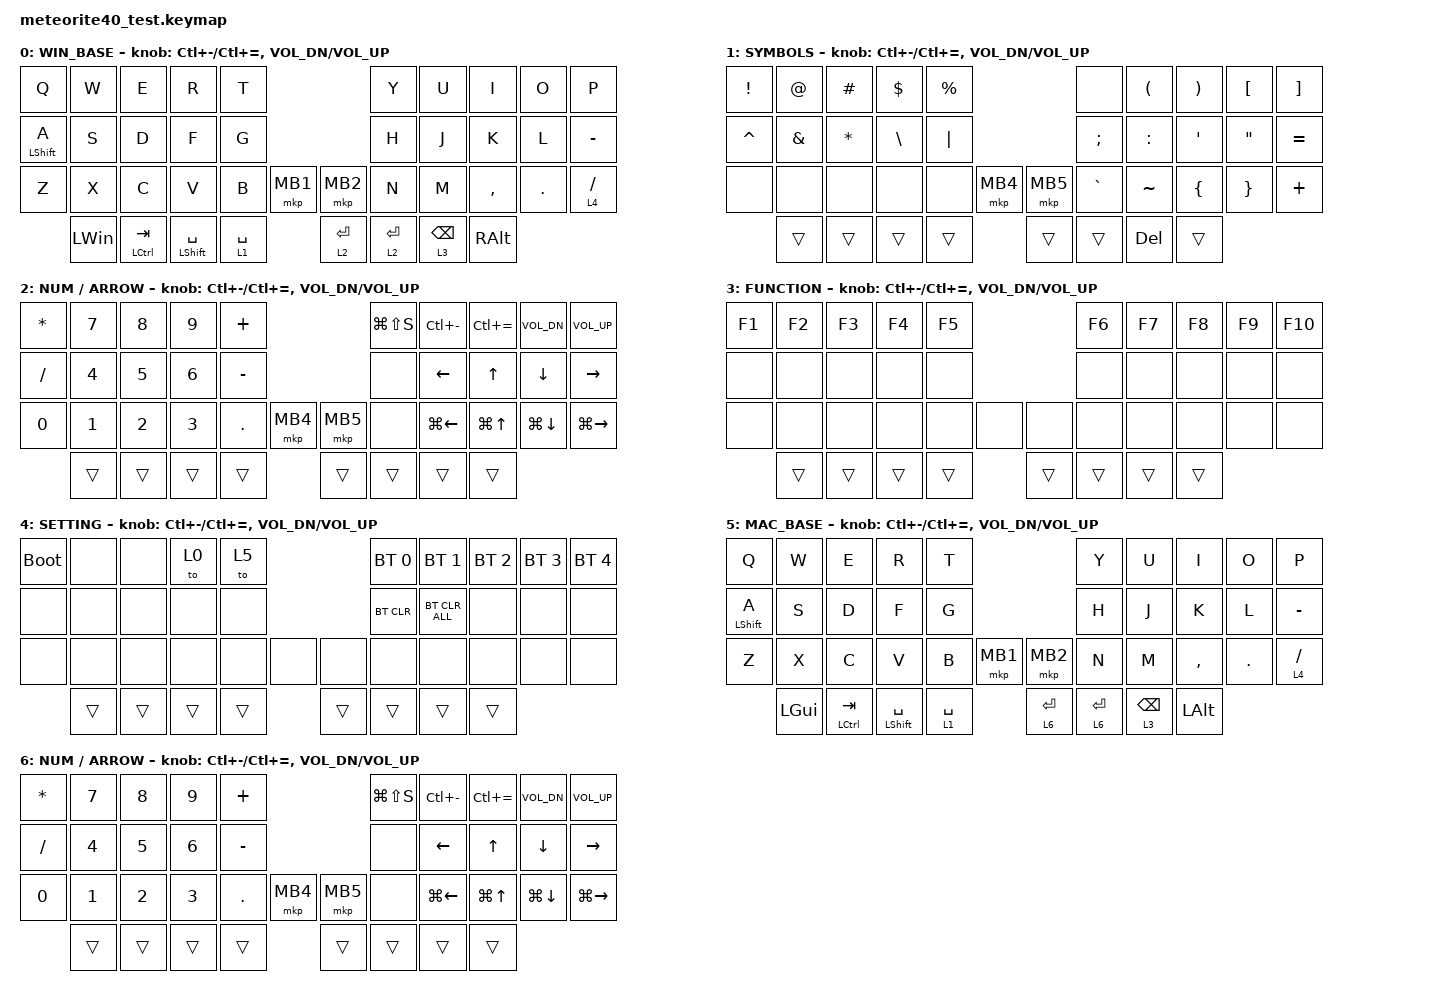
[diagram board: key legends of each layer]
#include <behaviors.dtsi>
#include <dt-bindings/zmk/bt.h>
#include <dt-bindings/zmk/keys.h>
#include <dt-bindings/zmk/pointing.h>

&mt { 
	flavor = "tap-preferred"; // change hold to tap
	tapping-term-ms = <200>;
	quick-tap-ms = <150>; // change 200 to 150
};

&lt {
	flavor = "tap-preferred";
	tapping-term-ms = <150>; // change 200 to 150
	quick-tap-ms = <150>; // change 200 to 150
};

/ { 
	combos {
		compatible = "zmk,combos";

        //common win and mac
		lang1 {
			bindings = <&kp LANG1>;
			key-positions = <12 13>; /* D + F */
			layers = <0 5>;
		};

		lang2 {
			bindings = <&kp LANG2>;
			key-positions = <16 17>; /* J + K */
			layers = <0 5>;
		};

		esc {
			bindings = <&kp ESCAPE>;
			key-positions = <20 21>; /* Z + X */
			layers = <0 5>;
		};

		tab {
			bindings = <&kp TAB>;
			key-positions = <0 1>; /* Q + W */
			layers = <0 5>;
		};

        //win only
		home_win {
			bindings = <&kp HOME>;
			key-positions = <16 17>; /* J + K (on layer 2) */
			layers = <2>;
		};

		end_win {
			bindings = <&kp END>;
			key-positions = <18 19>; /* L + - (on layer 2) */
			layers = <2>;
		};

		ctrl_home_win {
			bindings = <&kp LC(HOME)>;
			key-positions = <16 18>; /* J + L (on layer 2) */
			layers = <2>;
		};

		ctrl_end_win {
			bindings = <&kp LC(END)>;
			key-positions = <17 19>; /* K + - (on layer 2) */
			layers = <2>;
		};

        //mac only
		home_mac {
			bindings = <&kp LG(LEFT)>;
			key-positions = <16 17>; /* J + K (on layer 6) */
			layers = <6>;
		};

		end_mac {
			bindings = <&kp LG(RIGHT)>;
			key-positions = <18 19>; /* L + - (on layer 6) */
			layers = <6>;
		};

		ctrl_home_mac {
			bindings = <&kp LG(UP)>;
			key-positions = <16 18>; /* J + L (on layer 6) */
			layers = <6>;
		};

		ctrl_end_mac {
			bindings = <&kp LG(DOWN)>;
			key-positions = <17 19>; /* K + - (on layer 6) */
			layers = <6>;
		};
	};

	keymap {
		compatible = "zmk,keymap";
		layout = &LAYOUT_2U_SPACE;

		win_base {
			display-name = "WIN_BASE";
			bindings = <
				&kp Q        &kp W       &kp E        &kp R        &kp T                                 &kp Y        &kp U       &kp I       &kp O  &kp P
				&mt LSHIFT A &kp S       &kp D        &kp F        &kp G                                 &kp H        &kp J       &kp K       &kp L  &kp MINUS
				&kp Z        &kp X       &kp C        &kp V        &kp B        &mkp MB1     &mkp MB2    &kp N        &kp M       &kp COMMA   &kp DOT  &lt 4 SLASH
								&kp LWIN  &mt LCTRL TAB  &mt LSHIFT SPACE  &lt 1 SPACE  &lt 2 ENTER  &lt 2 ENTER  &lt 3 BSPC  &kp RALT
			>;

			sensor-bindings =
				<&inc_dec_kp LC(MINUS) LC(EQUAL)>, // RE0: ctrl + - / +
				<&inc_dec_kp C_VOL_DN C_VOL_UP>; // RE1: volume down/up
		};

		layer_1 {
			display-name = "SYMBOLS";
			bindings = <
				&kp EXCL   &kp AT    &kp HASH  &kp DLLR  &kp PRCNT                       &none      &kp LPAR   &kp RPAR   &kp LBKT   &kp RBKT
				&kp CARET  &kp AMPS  &kp STAR  &kp BSLH  &kp PIPE                        &kp SEMI   &kp COLON  &kp SQT    &kp DQT    &kp EQUAL
				&none      &none     &none     &none     &none      &mkp MB4  &mkp MB5   &kp GRAVE  &kp TILDE  &kp LBRC   &kp RBRC   &kp PLUS
									 &trans     &trans    &trans    &trans    &trans     &trans    &kp DEL     &trans
			>;

			sensor-bindings =
				<&inc_dec_kp LC(MINUS) LC(EQUAL)>, // RE0: ctrl + - / +
				<&inc_dec_kp C_VOL_DN C_VOL_UP>; // RE1: volume down/up
		};

		layer_2 {
			display-name = "NUM / ARROW";
			bindings = <
				&kp ASTRK        &kp N7     &kp N8     &kp N9     &kp PLUS                        &kp LG(LS(S)) &kp LC(MINUS) &kp LC(EQUAL) &kp C_VOL_DN &kp C_VOL_UP
				&kp SLASH        &kp N4     &kp N5     &kp N6     &kp MINUS                       &none         &kp LEFT      &kp UP        &kp DOWN     &kp RIGHT
				&kp N0           &kp N1     &kp N2     &kp N3     &kp DOT   &mkp MB4   &mkp MB5   &none         &kp LG(LEFT)  &kp LG(UP)    &kp LG(DOWN) &kp LG(RIGHT)
										&trans           &trans     &trans     &trans    &trans        &trans  &trans    &trans
			>;

			sensor-bindings =
				<&inc_dec_kp LC(MINUS) LC(EQUAL)>, // RE0: ctrl + - / +
				<&inc_dec_kp C_VOL_DN C_VOL_UP>; // RE1: volume down/up
		};

		layer_3 {
			display-name = "FUNCTION";
			bindings = <
				&kp F1  &kp F2  &kp F3  &kp F4  &kp F5                  &kp F6  &kp F7  &kp F8  &kp F9  &kp F10
				&none   &none   &none   &none   &none                   &none   &none   &none   &none   &none
				&none   &none   &none   &none   &none   &none   &none   &none   &none   &none    &none  &none
								&trans  &trans  &trans  &trans  &trans  &trans  &trans  &trans
			>;

			sensor-bindings =
				<&inc_dec_kp LC(MINUS) LC(EQUAL)>, // RE0: ctrl + - / +
				<&inc_dec_kp C_VOL_DN C_VOL_UP>; // RE1: volume down/up
		};

		layer_4 {
			display-name = "SETTING";
			bindings = <
				&bootloader  &none   &none   &to 0   &to 5                                 &bt BT_SEL 0   &bt BT_SEL 1    &bt BT_SEL 2  &bt BT_SEL 3  &bt BT_SEL 4
				&none        &none   &none   &none   &none                                 &bt BT_CLR     &bt BT_CLR_ALL  &none         &none         &none
				&none        &none   &none   &none   &none   &none           &none         &none          &none           &none         &none         &none
												&trans       &trans  &trans  &trans  &trans  &trans          &trans        &trans
			>;

			sensor-bindings =
				<&inc_dec_kp LC(MINUS) LC(EQUAL)>, // RE0: ctrl + - / +
				<&inc_dec_kp C_VOL_DN C_VOL_UP>; // RE1: volume down/up
		};

        mac_base {
            display-name = "MAC_BASE";
            bindings = <
                &kp Q        &kp W       &kp E        &kp R        &kp T                                 &kp Y        &kp U       &kp I       &kp O  &kp P
                &mt LSHIFT A &kp S       &kp D        &kp F        &kp G                                 &kp H        &kp J       &kp K       &kp L  &kp MINUS
                &kp Z        &kp X       &kp C        &kp V        &kp B        &mkp MB1     &mkp MB2    &kp N        &kp M       &kp COMMA   &kp DOT  &lt 4 SLASH
                                &kp LGUI  &mt LCTRL TAB  &mt LSHIFT SPACE  &lt 1 SPACE  &lt 6 ENTER  &lt 6 ENTER  &lt 3 BSPC  &kp LALT
            >;

            sensor-bindings =
                <&inc_dec_kp LC(MINUS) LC(EQUAL)>,
                <&inc_dec_kp C_VOL_DN C_VOL_UP>;
        };

		layer_2_mac {
			display-name = "NUM / ARROW";
			bindings = <
				&kp ASTRK        &kp N7     &kp N8     &kp N9     &kp PLUS                        &kp LG(LS(S)) &kp LC(MINUS) &kp LC(EQUAL) &kp C_VOL_DN &kp C_VOL_UP
				&kp SLASH        &kp N4     &kp N5     &kp N6     &kp MINUS                       &none         &kp LEFT      &kp UP        &kp DOWN     &kp RIGHT
				&kp N0           &kp N1     &kp N2     &kp N3     &kp DOT   &mkp MB4   &mkp MB5   &none         &kp LG(LEFT)  &kp LG(UP)    &kp LG(DOWN) &kp LG(RIGHT)
										&trans           &trans     &trans     &trans    &trans        &trans  &trans    &trans
			>;

			sensor-bindings =
				<&inc_dec_kp LC(MINUS) LC(EQUAL)>, // RE0: ctrl + - / +
				<&inc_dec_kp C_VOL_DN C_VOL_UP>; // RE1: volume down/up
		};


	};
};


